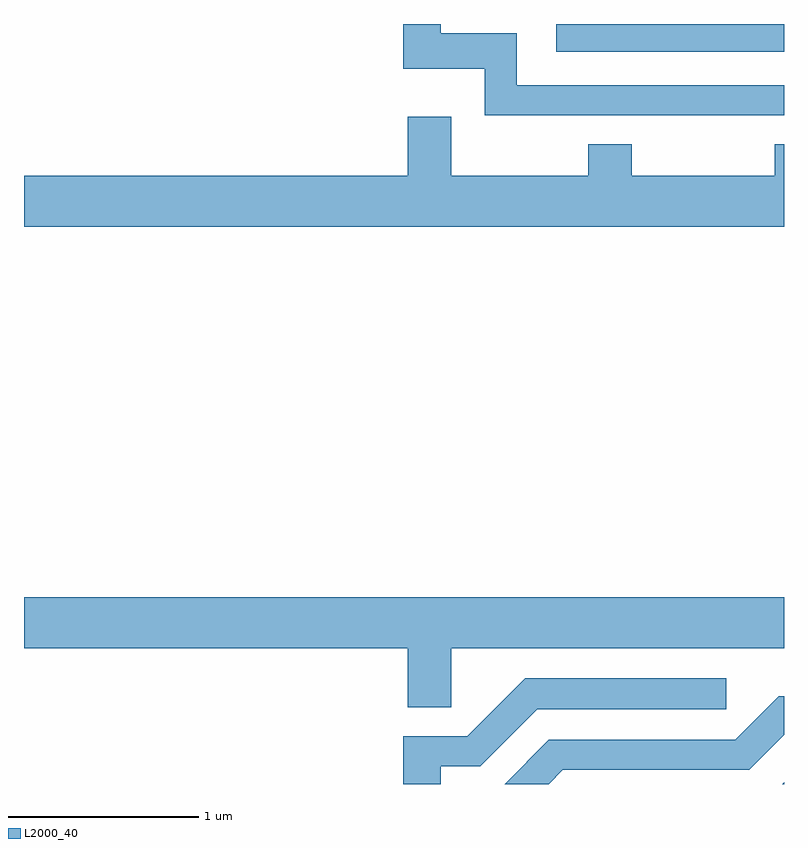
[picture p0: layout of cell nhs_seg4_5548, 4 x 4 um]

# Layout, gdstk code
import gdstk
lib = gdstk.Library(unit=1e-6, precision=1e-09)
def R(c, l, rs):  # rectangles x0, y0, x1, y1
    for r in rs: c.add(gdstk.rectangle(r[:2], r[2:], *l))
def P(c, l, *ps):  # polygons
    for p in ps: c.add(gdstk.Polygon(p, *l))
L2000_40 = (2000, 40)

nhs_seg4_5548 = lib.new_cell('nhs_seg4_5548')
R(nhs_seg4_5548, L2000_40, [(350.411,1337.836,351.611,1337.982)])
P(nhs_seg4_5548, L2000_40, [(351.611,1337.659),(350.204,1337.659),(350.204,1337.934),(349.804,1337.934),(349.804,1337.982),(349.606,1337.982),(349.606,1337.746),(350.036,1337.746),(350.036,1337.501),(351.611,1337.501)],
  [(351.611,1337.349),(351.561,1337.349),(351.561,1337.184),(350.809,1337.184),(350.809,1337.349),(350.581,1337.349),(350.581,1337.184),(349.859,1337.184),(349.859,1337.494),(349.631,1337.494),(349.631,1337.184),(347.611,1337.184),(347.611,1336.916),(351.611,1336.916)],
  [(349.859,1334.696),(351.611,1334.696),(351.611,1334.964),(347.611,1334.964),(347.611,1334.696),(349.631,1334.696),(349.631,1334.386),(349.859,1334.386)],
  [(349.804,1334.076),(350.012,1334.076),(350.312,1334.376),(351.308,1334.376),(351.308,1334.539),(350.249,1334.539),(349.944,1334.234),(349.606,1334.234),(349.606,1333.982),(349.804,1333.982)],
  [(350.447,1334.056),(351.427,1334.056),(351.611,1334.24),(351.611,1334.444),(351.584,1334.444),(351.354,1334.214),(350.374,1334.214),(350.142,1333.982),(350.373,1333.982)],
  [(351.611,1333.991),(351.602,1333.982),(351.611,1333.982)])

lib.write_gds('nhs_seg4_5548.gds')
